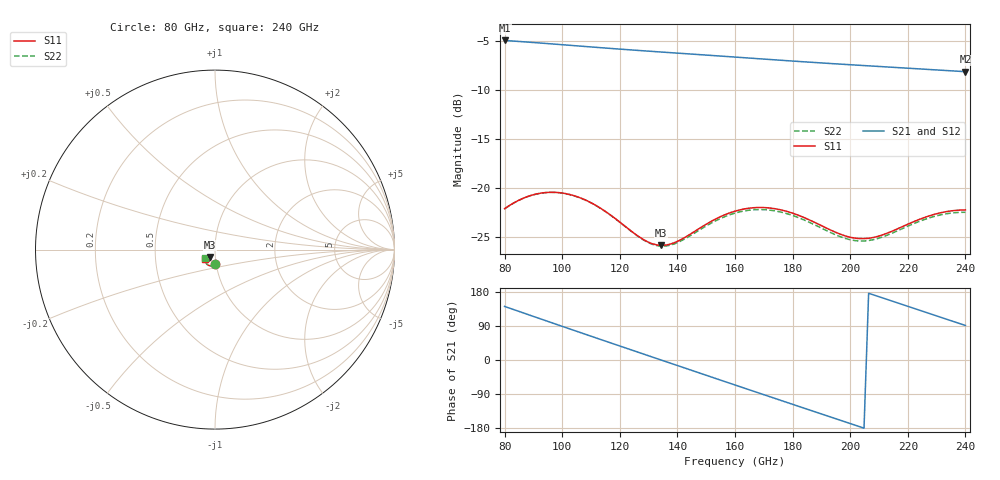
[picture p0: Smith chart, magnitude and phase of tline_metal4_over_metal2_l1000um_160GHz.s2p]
#  GHZ S DB R 50
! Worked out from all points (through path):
!   101 points, 80 GHz to 240 GHz, reference 50 ohm
!   highest |S21| = -4.97 dB at 80 GHz (marker M1); lowest = -8.2 dB at 240 GHz (marker M2)
!   group delay of S21, straight-line fit = 7.11 ps
!   lowest |S11| = -25.9 dB at 134.4 GHz (marker M3), VSWR 1.11, Z = 47 - j3.94 ohm
!   |S11| at or under -10 dB: start of sweep to end of sweep
!   |S22| runs from -26.0 to -20.5 dB; largest |S21 - S12| = 8.9e-14
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80  -22.15 -91.3  -4.97 141.4  -4.97 141.4  -22.17 -90.5
88  -20.91 -99.2  -5.14 120.3  -5.14 120.3  -20.92 -98.7
94.4  -20.50 -108.1  -5.28 103.5  -5.28 103.5  -20.51 -107.7
100.8  -20.59 -117.4  -5.42 86.7  -5.42 86.7  -20.60 -117.2
107.2  -21.15 -126.1  -5.57 70.1  -5.57 70.1  -21.17 -126.1
115.2  -22.47 -134.2  -5.75 49.3  -5.75 49.3  -22.49 -134.3
121.6  -23.89 -136.4  -5.89 32.8  -5.89 32.8  -23.91 -136.8
128  -25.27 -133.0  -6.02 16.3  -6.02 16.3  -25.31 -133.7
134.4  -25.90 -124.5  -6.15 -0.2  -6.15 -0.2  -25.98 -125.4
145.6  -24.54 -113.6  -6.38 -29.0  -6.38 -29.0  -24.70 -114.5
153.6  -23.16 -115.3  -6.54 -49.5  -6.54 -49.5  -23.34 -116.1
160  -22.41 -120.2  -6.67 -65.9  -6.67 -65.9  -22.60 -121.0
166.4  -22.06 -126.4  -6.80 -82.3  -6.80 -82.3  -22.26 -127.2
172.8  -22.11 -132.9  -6.93 -98.6  -6.93 -98.6  -22.33 -133.7
179.2  -22.53 -138.5  -7.06 -114.9  -7.06 -114.9  -22.77 -139.2
187.2  -23.48 -142.7  -7.21 -135.2  -7.21 -135.2  -23.73 -143.4
195.2  -24.59 -141.9  -7.36 -155.5  -7.36 -155.5  -24.85 -142.5
201.6  -25.16 -137.4  -7.48 -171.7  -7.48 -171.7  -25.41 -137.8
208  -25.09 -131.6  -7.59 172.0  -7.59 172.0  -25.32 -132.0
214.4  -24.47 -127.8  -7.70 155.8  -7.70 155.8  -24.67 -128.3
227.2  -22.91 -129.6  -7.93 123.4  -7.93 123.4  -23.12 -130.4
240  -22.28 -138.5  -8.16 91.1  -8.16 91.1  -22.52 -139.6
